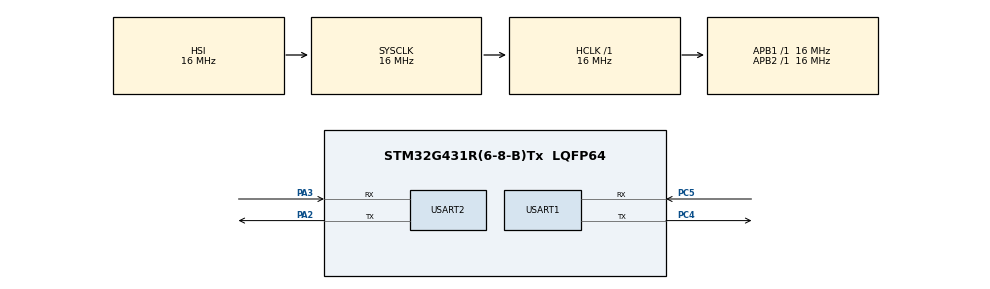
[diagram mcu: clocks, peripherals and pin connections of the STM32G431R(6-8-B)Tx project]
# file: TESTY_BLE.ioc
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Mcu.Family=STM32G4
Mcu.Name=STM32G431R(6-8-B)Tx
Mcu.Package=LQFP64
NVIC.PriorityGroup=NVIC_PRIORITYGROUP_4
NVIC.USART1_IRQn=true\:0\:0\:false\:false\:true\:true\:true\:true
PA2.Mode=Asynchronous
PA2.Signal=USART2_TX
PA3.Mode=Asynchronous
PA3.Signal=USART2_RX
PC4.Mode=Asynchronous
PC4.Signal=USART1_TX
PC5.Mode=Asynchronous
PC5.Signal=USART1_RX
ProjectManager.HeapSize=0x200
ProjectManager.StackSize=0x400
ProjectManager.TargetToolchain=STM32CubeIDE
RCC.AHBFreq_Value=16000000
RCC.APB1Freq_Value=16000000
RCC.APB1TimFreq_Value=16000000
RCC.APB2Freq_Value=16000000
RCC.APB2TimFreq_Value=16000000
RCC.CortexFreq_Value=16000000
RCC.EXTERNAL_CLOCK_VALUE=12288000
RCC.HCLKFreq_Value=16000000
RCC.HSE_VALUE=8000000
RCC.HSI48_VALUE=48000000
RCC.HSI_VALUE=16000000
RCC.LSE_VALUE=32768
RCC.SYSCLKFreq_VALUE=16000000
RCC.USBFreq_Value=64000000
RCC.VCOOutputFreq_Value=128000000
USART1.OverrunDisableParam=ADVFEATURE_OVERRUN_ENABLE
USART1.VirtualMode-Asynchronous=VM_ASYNC
USART1.WordLength=WORDLENGTH_8B
USART2.VirtualMode-Asynchronous=VM_ASYNC
VP_SYS_VS_DBSignals.Mode=DisableDeadBatterySignals
board=custom

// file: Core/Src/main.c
/* USER CODE BEGIN Header */
/**
  ******************************************************************************
  * @file           : main.c
  * @brief          : Main program body
  ******************************************************************************
  * @attention
  *
  * Copyright (c) 2023 STMicroelectronics.
  * All rights reserved.
  *
  * This software is licensed under terms that can be found in the LICENSE file
  * in the root directory of this software component.
  * If no LICENSE file comes with this software, it is provided AS-IS.
  *
  ******************************************************************************
  */
/* USER CODE END Header */
#include "main.h"

/* USER CODE BEGIN Includes */
#include <string.h>
//#include<stdio.h>
/* USER CODE END Includes */

/* USER CODE BEGIN PD */

#define BUFFER_SIZE 128
#define receive_size 1

#define RxBuf_SIZE 10
#define MainBuf_SIZE 10
/* USER CODE END PD */

 UART_HandleTypeDef huart1;
UART_HandleTypeDef huart2;

/* USER CODE BEGIN PV */
char ATcommand[64];
uint16_t ble_msg_len;
uint16_t i = 0;
char buffer[BUFFER_SIZE];
int bufferIndex = 0;
uint8_t received_byte[10];
uint8_t received_mess[100];

/* USER CODE END PV */

void SystemClock_Config(void);
static void MX_GPIO_Init(void);
static void MX_USART1_UART_Init(void);
static void MX_USART2_UART_Init(void);

/* USER CODE BEGIN 0 */
//uint8_t RxBuf[RxBuf_SIZE];
//uint8_t MainBuf[MainBuf_SIZE];
//HAL_UART_RegisterRxEventCallback(UART_HandleTypeDef *huart, pUART_RxEventCallbackTypeDef pCallback)
int __io_putchar(int ch)
{
	HAL_UART_Transmit(&huart2, (uint8_t*)&ch, 1, HAL_MAX_DELAY);
	return 1;
}
void SendMSG(char* cmd){
	  ble_msg_len= strlen(cmd);

	  strcpy(ATcommand,cmd);
	  ATcommand[ble_msg_len++]='\r';
//

//      received_byte[9] = '\0'; // Null-terminate the buffer
//	  memset( received_byte, 0, 10);
	  HAL_UART_Transmit(&huart1,(uint8_t *)ATcommand,ble_msg_len,1000);
	  HAL_Delay(1000);
	  for(uint8_t u; u<64; u++){
		  ATcommand[u]=0;
	  }

}

void ReadBuffer(void);

/* USER CODE END 0 */

int main(void)
{

  /* MCU Configuration--------------------------------------------------------*/

  /* Reset of all peripherals, Initializes the Flash interface and the Systick. */
  HAL_Init();

  /* Configure the system clock */
  SystemClock_Config();

  /* Initialize all configured peripherals */
  MX_GPIO_Init();
  MX_USART1_UART_Init();
  MX_USART2_UART_Init();
  /* USER CODE BEGIN 2 */
//  HAL_UARTEx_ReceiveToIdle_DMA(&huart1, RxBuf , RxBuf_SIZE);
  //HAL_UART_Receive_DMA(&huart1, (uint8_t *) dataOut, 64);
  HAL_Delay(800);
  HAL_UART_Receive_IT(&huart1,  received_byte,2);
  //HAL_UART_IRQHandler(&huart1);
  HAL_Delay(800);
  printf("Test UART\r\n");
  uint8_t status;
  SendMSG("AT");

  ReadBuffer();
  HAL_Delay(1000);
  SendMSG("AT%S 0=\"Cuk\""); // ustawienie device name

  ReadBuffer();
  HAL_Delay(1000);
  SendMSG("AT%S 1=\"2154657374776961646F6D6F73636921\""); //UUID

  ReadBuffer();
  HAL_Delay(1000);
  SendMSG("ATS 100=1"); // VSP And start advertow

  ReadBuffer();
  HAL_Delay(1000);
  SendMSG("ATS 100?"); // VSP And start advertow

  ReadBuffer();
  HAL_Delay(1000);
  ReadBuffer();
  SendMSG("ATS 101=4"); // 4dBm

  ReadBuffer();
  HAL_Delay(800);
  SendMSG("ATS 103=0"); // nazwe ustawia na ta wczesniej wpisana

  ReadBuffer();
  HAL_Delay(1000);
  SendMSG("ATS 106=100"); // ustawia 100 sekund na skanowanie
//  HAL_Delay(800);
//  SendMSG("ATS 108=3"); // ustawia tryb advertow dla nonvsp

  ReadBuffer();
  HAL_Delay(1000);
  SendMSG("ATS 109=1");

  HAL_Delay(1000);
  ReadBuffer();
  SendMSG("ATS 201=200");  // interwal advertow vsp

  HAL_Delay(1000);
  ReadBuffer();
  SendMSG("ATS 204=256");  // tx bufor vsp

  HAL_Delay(1000);
  ReadBuffer();
  SendMSG("ATS 205=256");  // rx bufor vsp

  HAL_Delay(1000);
  ReadBuffer();
  SendMSG("ATS 301=7500");  //vsp connection interval

  HAL_Delay(1000);

  ReadBuffer();
  SendMSG("AT&W"); // zapis rejestru S
  HAL_Delay(1000);

  ReadBuffer();

  SendMSG("ATZ"); //restart
  HAL_Delay(1000);
  ReadBuffer();

  printf("Kuniec \r\n");
  //SendMSG("AT+LSCN, 500"); //start scanowania do vsp z limitem 500 sekund

  HAL_Delay(800);

  ReadBuffer();
 // SendMSG("AT+LADV 3,500");
  //status = HAL_UART_Transmit(&huart2, pBuff, Size, 0xFFFF);
  //send_string("AT\r");

 // sprintf(ATcommand,"");
 // status = HAL_UART_Transmit(&huart1,(uint8_t *)ATcommand,strlen(ATcommand),1000);
 //printf("STATUS : %d", status);
////  while(all_rx[rx_cnt] != 0x0D){
//	  HAL_UART_Receive_IT(&huart1,  &received_byte, 1);
//	  //strcat(all_rx, &received_byte);
//	  all_rx[rx_cnt] = received_byte;
//	  printf("Plz to wynik %s\r\n",all_rx);
//	  rx_cnt++;
 // }

//  HAL_Delay(1000);
//  InitBLEAddrTable();
//  HAL_Delay(100);
//  Configure_BLE();
//  HAL_Delay(100);
//  StartAdverts();
  /* USER CODE END 2 */

  /* Infinite loop */
  /* USER CODE BEGIN WHILE */
  uint8_t Test[10] = "testowy";
  HAL_UART_Transmit(&huart1,(uint8_t *)Test,10,1000);
  while (1)
  {
    /* USER CODE END WHILE */

    /* USER CODE BEGIN 3 */
	  printf("%s", buffer);

  }
  /* USER CODE END 3 */
}

void SystemClock_Config(void)
{
  RCC_OscInitTypeDef RCC_OscInitStruct = {0};
  RCC_ClkInitTypeDef RCC_ClkInitStruct = {0};

  /** Configure the main internal regulator output voltage
  */
  HAL_PWREx_ControlVoltageScaling(PWR_REGULATOR_VOLTAGE_SCALE1);

  /** Initializes the RCC Oscillators according to the specified parameters
  * in the RCC_OscInitTypeDef structure.
  */
  RCC_OscInitStruct.OscillatorType = RCC_OSCILLATORTYPE_HSI;
  RCC_OscInitStruct.HSIState = RCC_HSI_ON;
  RCC_OscInitStruct.HSICalibrationValue = RCC_HSICALIBRATION_DEFAULT;
  RCC_OscInitStruct.PLL.PLLState = RCC_PLL_NONE;
  if (HAL_RCC_OscConfig(&RCC_OscInitStruct) != HAL_OK)
  {
    Error_Handler();
  }

  /** Initializes the CPU, AHB and APB buses clocks
  */
  RCC_ClkInitStruct.ClockType = RCC_CLOCKTYPE_HCLK|RCC_CLOCKTYPE_SYSCLK
                              |RCC_CLOCKTYPE_PCLK1|RCC_CLOCKTYPE_PCLK2;
  RCC_ClkInitStruct.SYSCLKSource = RCC_SYSCLKSOURCE_HSI;
  RCC_ClkInitStruct.AHBCLKDivider = RCC_SYSCLK_DIV1;
  RCC_ClkInitStruct.APB1CLKDivider = RCC_HCLK_DIV1;
  RCC_ClkInitStruct.APB2CLKDivider = RCC_HCLK_DIV1;

  if (HAL_RCC_ClockConfig(&RCC_ClkInitStruct, FLASH_LATENCY_0) != HAL_OK)
  {
    Error_Handler();
  }
}

static void MX_USART1_UART_Init(void)
{

  huart1.Instance = USART1;
  huart1.Init.BaudRate = 115200;
  huart1.Init.WordLength = UART_WORDLENGTH_8B;
  huart1.Init.StopBits = UART_STOPBITS_1;
  huart1.Init.Parity = UART_PARITY_NONE;
  huart1.Init.Mode = UART_MODE_TX_RX;
  huart1.Init.HwFlowCtl = UART_HWCONTROL_NONE;
  huart1.Init.OverSampling = UART_OVERSAMPLING_16;
  huart1.Init.OneBitSampling = UART_ONE_BIT_SAMPLE_DISABLE;
  huart1.Init.ClockPrescaler = UART_PRESCALER_DIV1;
  huart1.AdvancedInit.AdvFeatureInit = UART_ADVFEATURE_NO_INIT;
  if (HAL_UART_Init(&huart1) != HAL_OK)
  {
    Error_Handler();
  }
  if (HAL_UARTEx_SetTxFifoThreshold(&huart1, UART_TXFIFO_THRESHOLD_1_8) != HAL_OK)
  {
    Error_Handler();
  }
  if (HAL_UARTEx_SetRxFifoThreshold(&huart1, UART_RXFIFO_THRESHOLD_1_8) != HAL_OK)
  {
    Error_Handler();
  }
  if (HAL_UARTEx_DisableFifoMode(&huart1) != HAL_OK)
  {
    Error_Handler();
  }

}

static void MX_USART2_UART_Init(void)
{

  huart2.Instance = USART2;
  huart2.Init.BaudRate = 115200;
  huart2.Init.WordLength = UART_WORDLENGTH_8B;
  huart2.Init.StopBits = UART_STOPBITS_1;
  huart2.Init.Parity = UART_PARITY_NONE;
  huart2.Init.Mode = UART_MODE_TX_RX;
  huart2.Init.HwFlowCtl = UART_HWCONTROL_NONE;
  huart2.Init.OverSampling = UART_OVERSAMPLING_16;
  huart2.Init.OneBitSampling = UART_ONE_BIT_SAMPLE_DISABLE;
  huart2.Init.ClockPrescaler = UART_PRESCALER_DIV1;
  huart2.AdvancedInit.AdvFeatureInit = UART_ADVFEATURE_NO_INIT;
  if (HAL_UART_Init(&huart2) != HAL_OK)
  {
    Error_Handler();
  }
  if (HAL_UARTEx_SetTxFifoThreshold(&huart2, UART_TXFIFO_THRESHOLD_1_8) != HAL_OK)
  {
    Error_Handler();
  }
  if (HAL_UARTEx_SetRxFifoThreshold(&huart2, UART_RXFIFO_THRESHOLD_1_8) != HAL_OK)
  {
    Error_Handler();
  }
  if (HAL_UARTEx_DisableFifoMode(&huart2) != HAL_OK)
  {
    Error_Handler();
  }

}

static void MX_GPIO_Init(void)
{

  /* GPIO Ports Clock Enable */
  __HAL_RCC_GPIOA_CLK_ENABLE();
  __HAL_RCC_GPIOC_CLK_ENABLE();

}

/* USER CODE BEGIN 4 */
void HAL_UART_RxCpltCallback(UART_HandleTypeDef *huart)
{

	HAL_UART_Receive_IT(&huart1,received_byte,2);

	buffer[bufferIndex] = received_byte[0];
	bufferIndex++;
	buffer[bufferIndex] = received_byte[1];
	bufferIndex++;
}
//	while(received_byte[i] != '\r'){
//		buffer[bufferIndex] = received_byte[i];
//		bufferIndex++;
//		i++;
//	}
//	if(received_byte[i] == '\r'){
//		printf("Otrzymany bajt: %s",buffer);
//		buffer[bufferIndex] = '\0'; // Null-terminate the buffer
//        memset(buffer, 0, BUFFER_SIZE);
//        received_byte[i] = '\0'; // Null-terminate the buffer
//    	memset(received_byte, 0, receive_size);
//    	i=0;
//	}
////
//	   if (received_byte[1] == '\r' )
//	    {
//	      // End of message reached
//		  printf("Otrzymany bajt: %s",buffer);
//	    //  buffer[bufferIndex] = '\0'; // Null-terminate the buffer
////	      memset(buffer, 0, BUFFER_SIZE);
////	      bufferIndex = 0;
//
//	    }
//	    else
//	    {
//	      // Add the character to the buffer
//	      if (bufferIndex < BUFFER_SIZE - 1)
//	      {
//	        buffer[bufferIndex] = received_byte[0];
//	        bufferIndex++;
//	        buffer[bufferIndex] = received_byte[1];
//	        bufferIndex++;
//
//
//
//	      }
//	    }
int o = 1;
void ReadBuffer(void){
	//printf("%d.", o);
	printf(" %s", buffer);
	memset(buffer, 0, 127);
	bufferIndex = 0;
	//o++;
}

/* USER CODE END 4 */

void Error_Handler(void)
{
  __disable_irq();
  while (1)
  {
  }
}
